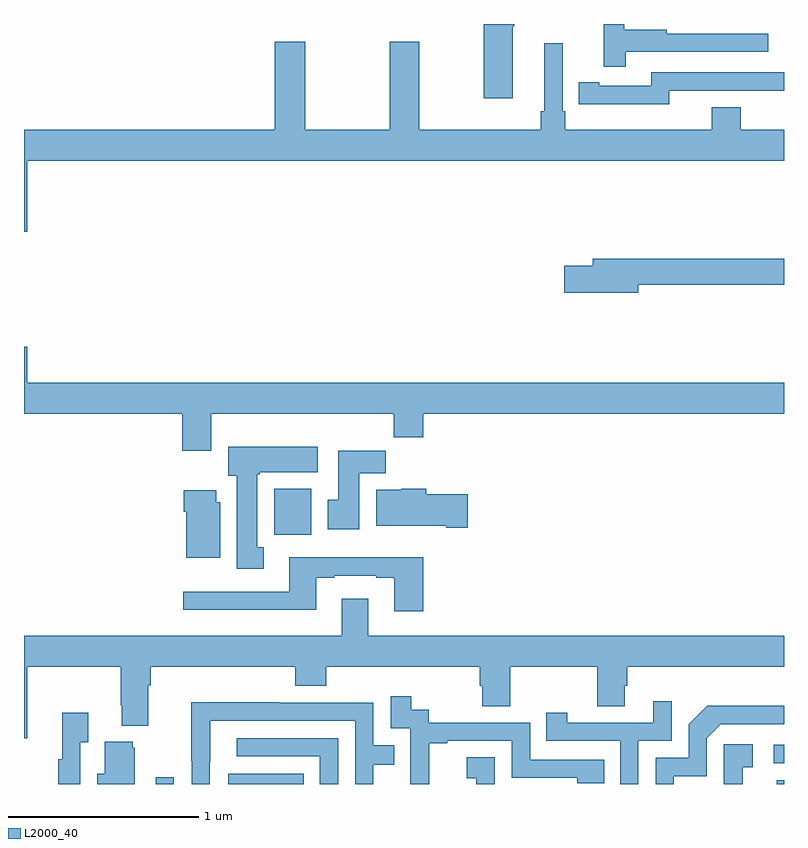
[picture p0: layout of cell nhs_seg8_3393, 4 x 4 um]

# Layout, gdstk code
import gdstk
lib = gdstk.Library(unit=1e-6, precision=1e-09)
def R(c, l, rs):  # rectangles x0, y0, x1, y1
    for r in rs: c.add(gdstk.rectangle(r[:2], r[2:], *l))
def P(c, l, *ps):  # polygons
    for p in ps: c.add(gdstk.Polygon(p, *l))
L2000_40 = (2000, 40)

nhs_seg8_3393 = lib.new_cell('nhs_seg8_3393')
R(nhs_seg8_3393, L2000_40, [(321.693,1099.9,321.789,1099.936), (322.076,1099.9,322.472,1099.954), (324.962,1099.9,325,1099.921), (324.945,1100.01,325,1100.106), (322.316,1101.212,322.513,1101.454)])
P(nhs_seg8_3393, L2000_40, [(323.572,1103.887),(323.58,1103.887),(323.58,1103.9),(323.419,1103.9),(323.419,1103.508),(323.572,1103.508)],
  [(324.167,1103.754),(324.916,1103.754),(324.916,1103.85),(324.383,1103.85),(324.383,1103.87),(324.16,1103.87),(324.16,1103.9),(324.05,1103.9),(324.05,1103.676),(324.167,1103.676)],
  [(321.016,1103.18),(325,1103.18),(325,1103.344),(324.773,1103.344),(324.773,1103.461),(324.62,1103.461),(324.62,1103.344),(323.849,1103.344),(323.849,1103.44),(323.835,1103.44),(323.835,1103.8),(323.738,1103.8),(323.738,1103.44),(323.719,1103.44),(323.719,1103.344),(323.079,1103.344),(323.079,1103.806),(322.924,1103.806),(322.924,1103.344),(322.479,1103.344),(322.479,1103.806),(322.319,1103.806),(322.319,1103.344),(321,1103.344),(321,1102.806),(321.016,1102.806)],
  [(324.396,1103.55),(324.856,1103.55),(324.856,1103.549),(325,1103.549),(325,1103.646),(324.3,1103.646),(324.3,1103.574),(324.028,1103.574),(324.028,1103.594),(323.92,1103.594),(323.92,1103.478),(324.028,1103.478),(324.028,1103.477),(324.396,1103.477)],
  [(324.232,1102.528),(325,1102.528),(325,1102.664),(323.993,1102.664),(323.993,1102.628),(323.844,1102.628),(323.844,1102.486),(324.232,1102.486)],
  [(321.016,1102.201),(321,1102.201),(321,1101.848),(321.833,1101.848),(321.833,1101.654),(321.985,1101.654),(321.985,1101.848),(322.945,1101.848),(322.945,1101.724),(323.102,1101.724),(323.102,1101.848),(325,1101.848),(325,1102.012),(321.016,1102.012)],
  [(322.261,1101.146),(322.228,1101.146),(322.228,1101.529),(322.242,1101.529),(322.242,1101.542),(322.546,1101.542),(322.546,1101.676),(322.076,1101.676),(322.076,1101.522),(322.121,1101.522),(322.121,1101.033),(322.261,1101.033)],
  [(322.765,1101.536),(322.904,1101.536),(322.904,1101.655),(322.655,1101.655),(322.655,1101.396),(322.598,1101.396),(322.598,1101.24),(322.765,1101.24)],
  [(323.335,1101.426),(323.117,1101.426),(323.117,1101.454),(322.986,1101.454),(322.986,1101.448),(322.853,1101.448),(322.853,1101.26),(323.222,1101.26),(323.222,1101.248),(323.335,1101.248)],
  [(322.033,1101.384),(322.012,1101.384),(322.012,1101.445),(321.842,1101.445),(321.842,1101.332),(321.854,1101.332),(321.854,1101.092),(322.033,1101.092)],
  [(323.102,1101.094),(322.397,1101.094),(322.397,1100.913),(321.837,1100.913),(321.837,1100.816),(322.537,1100.816),(322.537,1100.985),(322.633,1100.985),(322.633,1100.997),(322.853,1100.997),(322.853,1100.985),(322.949,1100.985),(322.949,1100.808),(323.102,1100.808)],
  [(321.016,1100.516),(321.508,1100.516),(321.508,1100.314),(321.515,1100.314),(321.515,1100.207),(321.655,1100.207),(321.655,1100.42),(321.668,1100.42),(321.668,1100.516),(322.427,1100.516),(322.427,1100.417),(322.592,1100.417),(322.592,1100.516),(323.399,1100.516),(323.399,1100.418),(323.411,1100.418),(323.411,1100.308),(323.559,1100.308),(323.559,1100.516),(324.016,1100.516),(324.016,1100.308),(324.163,1100.308),(324.163,1100.418),(324.176,1100.418),(324.176,1100.516),(325,1100.516),(325,1100.68),(322.813,1100.68),(322.813,1100.875),(322.673,1100.875),(322.673,1100.68),(321,1100.68),(321,1100.142),(321.016,1100.142)],
  [(323.132,1100.115),(323.227,1100.115),(323.227,1100.127),(323.568,1100.127),(323.568,1099.932),(323.913,1099.932),(323.913,1099.905),(324.053,1099.905),(324.053,1100.028),(323.664,1100.028),(323.664,1100.223),(323.13,1100.223),(323.13,1100.292),(323.038,1100.292),(323.038,1100.362),(322.929,1100.362),(322.929,1100.193),(323.034,1100.193),(323.034,1099.964),(323.033,1099.964),(323.033,1099.9),(323.132,1099.9)],
  [(324.234,1100.127),(324.408,1100.127),(324.408,1100.335),(324.311,1100.335),(324.311,1100.223),(323.86,1100.223),(323.86,1100.275),(323.749,1100.275),(323.749,1100.127),(324.138,1100.127),(324.138,1099.9),(324.234,1099.9)],
  [(321.978,1100.017),(321.979,1100.017),(321.979,1100.232),(322.743,1100.232),(322.743,1099.9),(322.839,1099.9),(322.839,1100.002),(322.949,1100.002),(322.949,1100.103),(322.839,1100.103),(322.839,1100.328),(322.343,1100.328),(322.343,1100.33),(321.88,1100.33),(321.88,1100.023),(321.882,1100.023),(321.882,1099.9),(321.978,1099.9)],
  [(324.421,1099.941),(324.594,1099.941),(324.594,1100.142),(324.666,1100.214),(325,1100.214),(325,1100.312),(324.596,1100.312),(324.498,1100.214),(324.498,1100.037),(324.324,1100.037),(324.324,1099.9),(324.421,1099.9)],
  [(321.297,1100.119),(321.337,1100.119),(321.337,1100.275),(321.2,1100.275),(321.2,1100.03),(321.181,1100.03),(321.181,1099.9),(321.297,1099.9)],
  [(322.653,1100.142),(322.119,1100.142),(322.119,1100.046),(322.557,1100.046),(322.557,1099.9),(322.653,1099.9)],
  [(321.583,1100.091),(321.572,1100.091),(321.572,1100.122),(321.425,1100.122),(321.425,1099.954),(321.386,1099.954),(321.386,1099.9),(321.583,1099.9)],
  [(324.782,1099.989),(324.835,1099.989),(324.835,1100.11),(324.684,1100.11),(324.684,1099.9),(324.782,1099.9)],
  [(323.478,1100.041),(323.331,1100.041),(323.331,1099.931),(323.38,1099.931),(323.38,1099.9),(323.478,1099.9)])

lib.write_gds('nhs_seg8_3393.gds')
